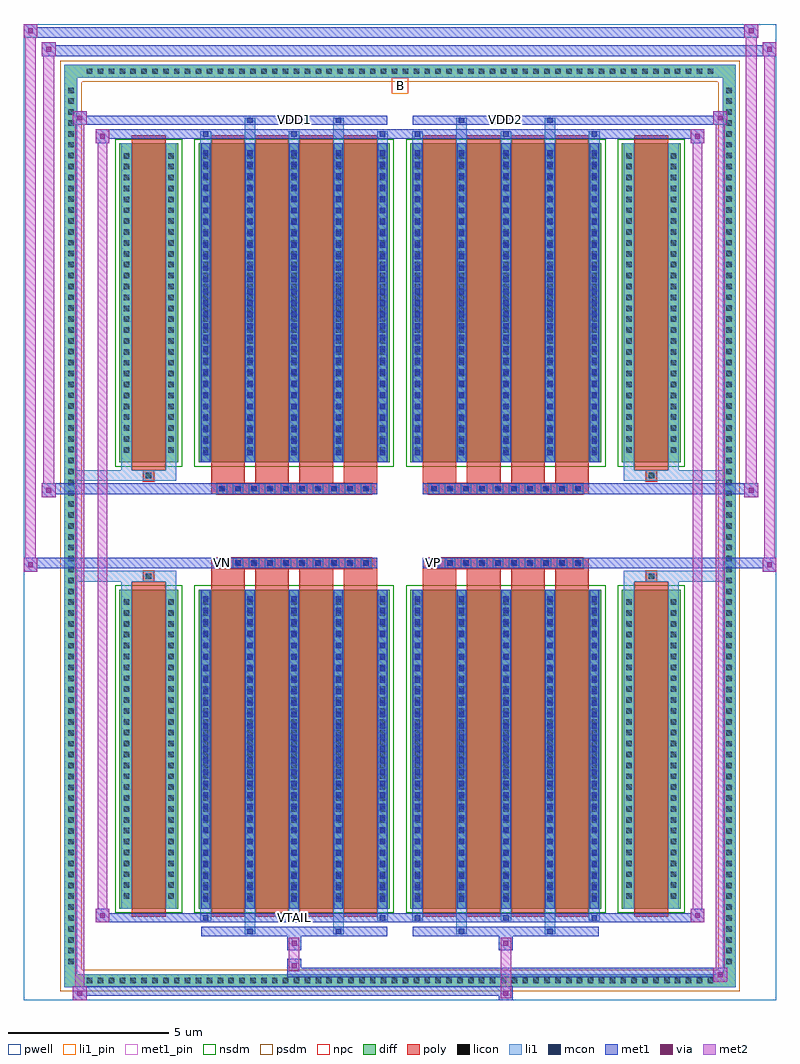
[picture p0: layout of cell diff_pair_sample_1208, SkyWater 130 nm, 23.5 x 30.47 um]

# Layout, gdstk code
import gdstk
lib = gdstk.Library(unit=1e-6, precision=5e-09)
def R(c, l, rs):  # rectangles x0, y0, x1, y1
    for r in rs: c.add(gdstk.rectangle(r[:2], r[2:], *l))
def A(c, l, x, y, w, h, nx, ny, dx, dy):  # array of equal rectangles
    R(c, l, [(x+i*dx, y+j*dy, x+i*dx+w, y+j*dy+h) for i in range(nx) for j in range(ny)])
def P(c, l, *ps):  # polygons
    for p in ps: c.add(gdstk.Polygon(p, *l))
pwell = (64, 44)
diff = (65, 20)
poly = (66, 20)
licon = (66, 44)
li1_pin = (67, 16)
li1 = (67, 20)
mcon = (67, 44)
met1_pin = (68, 16)
met1 = (68, 20)
via = (68, 44)
met2 = (69, 20)
nsdm = (93, 44)
psdm = (94, 20)
npc = (95, 20)

diff_pair_sample_1208 = lib.new_cell('diff_pair_sample_1208')
R(diff_pair_sample_1208, pwell, [(-11.75,-14.8,11.75,15.67), (-9.07,-12.99,-0.01,-0.795), (0.01,-12.99,9.07,-0.795), (-9.07,0.795,-0.01,12.99), (0.01,0.795,9.07,12.99)])
A(diff_pair_sample_1208, diff, -9.895, -14.4, 0.41, 0.41, 58, 2, 0.34, 28.39)
A(diff_pair_sample_1208, diff, -10.48, -13.805, 0.41, 0.41, 1, 81, 0, 0.34)
A(diff_pair_sample_1208, diff, 10.07, -13.805, 0.41, 0.41, 1, 81, 0, 0.34)
R(diff_pair_sample_1208, diff, [(-9.895,-14.4,9.895,-13.99), (-10.48,-13.805,-10.07,13.805), (10.07,-13.805,10.48,13.805), (-8.76,-11.945,-6.93,-1.985), (-6.29,-11.945,-0.32,-1.985), (0.32,-11.945,6.29,-1.985), (6.93,-11.945,8.76,-1.985), (-8.76,1.985,-6.93,11.945), (-6.29,1.985,-0.32,11.945), (0.32,1.985,6.29,11.945), (6.93,1.985,8.76,11.945), (-9.895,13.99,9.895,14.4)])
P(diff_pair_sample_1208, diff, [(10.48,14.4),(-10.48,14.4),(-10.48,-13.99),(-10.07,-13.99),(-10.07,13.99),(10.07,13.99),(10.07,-13.99),(-10.07,-13.99),(-10.48,-13.99),(-10.48,-14.4),(10.48,-14.4)])
A(diff_pair_sample_1208, poly, -5.9, -12.195, 1.05, 10.46, 4, 2, 1.38, 13.93)
A(diff_pair_sample_1208, poly, 0.71, -12.195, 1.05, 10.46, 4, 2, 1.38, 13.93)
A(diff_pair_sample_1208, poly, -5.9, -1.735, 1.05, 0.41, 4, 2, 1.38, 3.06)
A(diff_pair_sample_1208, poly, 0.71, -1.735, 1.05, 0.41, 4, 2, 1.38, 3.06)
A(diff_pair_sample_1208, poly, -5.72, -1.325, 0.33, 0.33, 10, 2, 0.5, 2.32)
A(diff_pair_sample_1208, poly, 0.89, -1.325, 0.33, 0.33, 10, 2, 0.5, 2.32)
R(diff_pair_sample_1208, poly, [(-8.37,-12.195,-7.32,-1.735), (7.32,-12.195,8.37,-1.735), (-8.01,-1.735,-7.68,-1.405), (-8.01,-1.735,-7.68,-1.405), (7.68,-1.735,8.01,-1.405), (7.68,-1.735,8.01,-1.405), (-5.9,-1.325,-0.71,-0.995), (0.71,-1.325,5.9,-0.995), (-5.9,0.995,-0.71,1.325), (0.71,0.995,5.9,1.325), (-8.01,1.405,-7.68,1.735), (-8.01,1.405,-7.68,1.735), (7.68,1.405,8.01,1.735), (7.68,1.405,8.01,1.735), (-8.37,1.735,-7.32,12.195), (7.32,1.735,8.37,12.195)])
A(diff_pair_sample_1208, licon, -9.775, -14.28, 0.17, 0.17, 58, 2, 0.34, 28.39)
A(diff_pair_sample_1208, licon, -10.36, -13.685, 0.17, 0.17, 1, 81, 0, 0.34)
A(diff_pair_sample_1208, licon, 10.19, -13.685, 0.17, 0.17, 1, 81, 0, 0.34)
A(diff_pair_sample_1208, licon, -8.62, -11.64, 0.17, 0.17, 1, 28, 0, 0.34)
A(diff_pair_sample_1208, licon, -7.24, -11.64, 0.17, 0.17, 1, 28, 0, 0.34)
A(diff_pair_sample_1208, licon, -6.15, -11.64, 0.17, 0.17, 5, 28, 1.38, 0.34)
A(diff_pair_sample_1208, licon, 0.46, -11.64, 0.17, 0.17, 5, 28, 1.38, 0.34)
A(diff_pair_sample_1208, licon, 7.07, -11.64, 0.17, 0.17, 1, 28, 0, 0.34)
A(diff_pair_sample_1208, licon, 8.45, -11.64, 0.17, 0.17, 1, 28, 0, 0.34)
A(diff_pair_sample_1208, licon, -5.64, -1.245, 0.17, 0.17, 10, 2, 0.5, 2.32)
A(diff_pair_sample_1208, licon, 0.97, -1.245, 0.17, 0.17, 10, 2, 0.5, 2.32)
A(diff_pair_sample_1208, licon, -8.62, 2.29, 0.17, 0.17, 1, 28, 0, 0.34)
A(diff_pair_sample_1208, licon, -7.24, 2.29, 0.17, 0.17, 1, 28, 0, 0.34)
A(diff_pair_sample_1208, licon, -6.15, 2.29, 0.17, 0.17, 5, 28, 1.38, 0.34)
A(diff_pair_sample_1208, licon, 0.46, 2.29, 0.17, 0.17, 5, 28, 1.38, 0.34)
A(diff_pair_sample_1208, licon, 7.07, 2.29, 0.17, 0.17, 1, 28, 0, 0.34)
A(diff_pair_sample_1208, licon, 8.45, 2.29, 0.17, 0.17, 1, 28, 0, 0.34)
R(diff_pair_sample_1208, licon, [(-7.93,-1.655,-7.76,-1.485), (7.76,-1.655,7.93,-1.485), (-7.93,1.485,-7.76,1.655), (7.76,1.485,7.93,1.655)])
R(diff_pair_sample_1208, li1_pin, [(-0.25,13.49,0.25,13.99)])
A(diff_pair_sample_1208, li1, -9.855, -14.36, 0.33, 0.33, 58, 2, 0.34, 28.39)
A(diff_pair_sample_1208, li1, -10.44, -13.765, 0.33, 0.33, 1, 81, 0, 0.34)
A(diff_pair_sample_1208, li1, 10.11, -13.765, 0.33, 0.33, 1, 81, 0, 0.34)
A(diff_pair_sample_1208, li1, -6.23, -12.32, 0.33, 0.375, 3, 2, 2.76, 24.265)
A(diff_pair_sample_1208, li1, -6.15, -12.32, 0.17, 0.17, 3, 2, 2.76, 24.47)
A(diff_pair_sample_1208, li1, 0.38, -12.32, 0.33, 0.375, 3, 2, 2.76, 24.265)
A(diff_pair_sample_1208, li1, 0.46, -12.32, 0.17, 0.17, 3, 2, 2.76, 24.47)
A(diff_pair_sample_1208, li1, -6.23, -11.945, 0.33, 9.96, 5, 2, 1.38, 13.93)
A(diff_pair_sample_1208, li1, 0.38, -11.945, 0.33, 9.96, 5, 2, 1.38, 13.93)
A(diff_pair_sample_1208, li1, -6.15, -11.73, 0.17, 0.17, 5, 27, 1.38, 0.36)
A(diff_pair_sample_1208, li1, -6.15, -11.73, 0.17, 9.53, 5, 2, 1.38, 13.93)
A(diff_pair_sample_1208, li1, 0.46, -11.73, 0.17, 0.17, 5, 27, 1.38, 0.36)
A(diff_pair_sample_1208, li1, 0.46, -11.73, 0.17, 9.53, 5, 2, 1.38, 13.93)
A(diff_pair_sample_1208, li1, -8.7, -11.72, 0.33, 0.33, 1, 28, 0, 0.34)
A(diff_pair_sample_1208, li1, -7.32, -11.72, 0.33, 0.33, 1, 28, 0, 0.34)
A(diff_pair_sample_1208, li1, -6.23, -11.72, 0.33, 0.33, 5, 28, 1.38, 0.34)
A(diff_pair_sample_1208, li1, 0.38, -11.72, 0.33, 0.33, 5, 28, 1.38, 0.34)
A(diff_pair_sample_1208, li1, 6.99, -11.72, 0.33, 0.33, 1, 28, 0, 0.34)
A(diff_pair_sample_1208, li1, 8.37, -11.72, 0.33, 0.33, 1, 28, 0, 0.34)
A(diff_pair_sample_1208, li1, -5.72, -1.325, 0.33, 0.33, 10, 2, 0.5, 2.32)
A(diff_pair_sample_1208, li1, 0.89, -1.325, 0.33, 0.33, 10, 2, 0.5, 2.32)
A(diff_pair_sample_1208, li1, -6.15, 2.2, 0.17, 0.17, 5, 27, 1.38, 0.36)
A(diff_pair_sample_1208, li1, 0.46, 2.2, 0.17, 0.17, 5, 27, 1.38, 0.36)
A(diff_pair_sample_1208, li1, -8.7, 2.21, 0.33, 0.33, 1, 28, 0, 0.34)
A(diff_pair_sample_1208, li1, -7.32, 2.21, 0.33, 0.33, 1, 28, 0, 0.34)
A(diff_pair_sample_1208, li1, -6.23, 2.21, 0.33, 0.33, 5, 28, 1.38, 0.34)
A(diff_pair_sample_1208, li1, 0.38, 2.21, 0.33, 0.33, 5, 28, 1.38, 0.34)
A(diff_pair_sample_1208, li1, 6.99, 2.21, 0.33, 0.33, 1, 28, 0, 0.34)
A(diff_pair_sample_1208, li1, 8.37, 2.21, 0.33, 0.33, 1, 28, 0, 0.34)
R(diff_pair_sample_1208, li1, [(-10.48,-14.4,-10.07,-13.99), (-10.48,-14.4,-10.07,-13.99), (-10.07,-14.4,10.07,-13.99), (10.07,-14.4,10.48,-13.99), (10.07,-14.4,10.48,-13.99), (-10.48,-13.99,-10.07,13.99), (10.07,-13.99,10.48,13.99), (-4.85,-12.75,-4.52,-11.945), (-4.77,-12.75,-4.6,-12.58), (-2.09,-12.75,-1.76,-11.945), (-2.01,-12.75,-1.84,-12.58), (1.76,-12.75,2.09,-11.945), (1.84,-12.75,2.01,-12.58), (4.52,-12.75,4.85,-11.945), (4.6,-12.75,4.77,-12.58), (-8.7,-11.945,-8.37,-1.985), (-7.32,-11.945,-6.99,-1.985), (6.99,-11.945,7.32,-1.985), (8.37,-11.945,8.7,-1.985), (-8.7,-1.985,-8.37,-1.405), (-7.32,-1.985,-6.99,-1.405), (6.99,-1.985,7.32,-1.405), (8.37,-1.985,8.7,-1.405), (-10.48,-1.735,-8.01,-1.405), (-8.7,-1.735,-8.01,-1.405), (-8.01,-1.735,-7.68,-1.405), (-7.68,-1.735,-6.99,-1.405), (6.99,-1.735,7.68,-1.405), (7.68,-1.735,8.01,-1.405), (7.68,-1.735,10.48,-1.405), (8.01,-1.735,8.7,-1.405), (-10.48,1.405,-8.01,1.735), (-8.7,1.405,-8.01,1.735), (-8.7,1.405,-8.37,1.985), (-8.01,1.405,-7.68,1.735), (-7.68,1.405,-6.99,1.735), (-7.32,1.405,-6.99,1.985), (6.99,1.405,7.68,1.735), (6.99,1.405,7.32,1.985), (7.68,1.405,8.01,1.735), (7.68,1.405,10.48,1.735), (8.01,1.405,8.7,1.735), (8.37,1.405,8.7,1.985), (-8.7,1.985,-8.37,11.945), (-7.32,1.985,-6.99,11.945), (6.99,1.985,7.32,11.945), (8.37,1.985,8.7,11.945), (-4.85,11.945,-4.52,12.75), (-2.09,11.945,-1.76,12.75), (1.76,11.945,2.09,12.75), (4.52,11.945,4.85,12.75), (-4.77,12.58,-4.6,12.75), (-2.01,12.58,-1.84,12.75), (1.84,12.58,2.01,12.75), (4.6,12.58,4.77,12.75), (-10.48,13.99,-10.07,14.4), (-10.48,13.99,-10.07,14.4), (-10.07,13.99,10.07,14.4), (10.07,13.99,10.48,14.4), (10.07,13.99,10.48,14.4)])
A(diff_pair_sample_1208, mcon, -6.15, -12.32, 0.17, 0.17, 3, 2, 2.76, 24.47)
A(diff_pair_sample_1208, mcon, 0.46, -12.32, 0.17, 0.17, 3, 2, 2.76, 24.47)
A(diff_pair_sample_1208, mcon, -6.15, -11.73, 0.17, 0.17, 5, 27, 1.38, 0.36)
A(diff_pair_sample_1208, mcon, 0.46, -11.73, 0.17, 0.17, 5, 27, 1.38, 0.36)
A(diff_pair_sample_1208, mcon, -5.64, -1.245, 0.17, 0.17, 10, 2, 0.5, 2.32)
A(diff_pair_sample_1208, mcon, 0.97, -1.245, 0.17, 0.17, 10, 2, 0.5, 2.32)
A(diff_pair_sample_1208, mcon, -6.15, 2.2, 0.17, 0.17, 5, 27, 1.38, 0.36)
A(diff_pair_sample_1208, mcon, 0.46, 2.2, 0.17, 0.17, 5, 27, 1.38, 0.36)
R(diff_pair_sample_1208, mcon, [(-4.77,-12.75,-4.6,-12.58), (-2.01,-12.75,-1.84,-12.58), (1.84,-12.75,2.01,-12.58), (4.6,-12.75,4.77,-12.58), (-4.77,12.58,-4.6,12.75), (-2.01,12.58,-1.84,12.75), (1.84,12.58,2.01,12.75), (4.6,12.58,4.77,12.75)])
R(diff_pair_sample_1208, met1_pin, [(-3.44,-12.36,-3.17,-12.09), (-5.69,-1.285,-5.42,-1.015), (0.92,-1.285,1.19,-1.015), (-3.44,12.54,-3.17,12.81), (3.17,12.54,3.44,12.81)])
A(diff_pair_sample_1208, met1, -6.21, -12.38, 0.29, 0.29, 3, 2, 2.76, 24.47)
A(diff_pair_sample_1208, met1, 0.4, -12.38, 0.29, 0.29, 3, 2, 2.76, 24.47)
A(diff_pair_sample_1208, met1, -6.21, -11.945, 0.29, 9.96, 5, 2, 1.38, 13.93)
A(diff_pair_sample_1208, met1, 0.4, -11.945, 0.29, 9.96, 5, 2, 1.38, 13.93)
A(diff_pair_sample_1208, met1, -6.21, -11.79, 0.29, 0.29, 5, 27, 1.38, 0.36)
A(diff_pair_sample_1208, met1, 0.4, -11.79, 0.29, 0.29, 5, 27, 1.38, 0.36)
A(diff_pair_sample_1208, met1, -5.7, -1.305, 0.29, 0.29, 10, 2, 0.5, 2.32)
A(diff_pair_sample_1208, met1, 0.91, -1.305, 0.29, 0.29, 10, 2, 0.5, 2.32)
A(diff_pair_sample_1208, met1, -6.21, 2.14, 0.29, 0.29, 5, 27, 1.38, 0.36)
A(diff_pair_sample_1208, met1, 0.4, 2.14, 0.29, 0.29, 5, 27, 1.38, 0.36)
R(diff_pair_sample_1208, met1, [(-10.21,-14.8,-9.78,-14.37), (3.09,-14.8,3.52,-14.37), (-10.21,-14.66,3.52,-14.37), (9.78,-14.23,10.21,-13.8), (-3.52,-14.09,10.21,-13.8), (-3.52,-13.95,-3.09,-13.52), (-3.52,-13.24,-3.09,-12.81), (3.09,-13.24,3.52,-12.81), (-6.21,-12.81,-0.4,-12.52), (-4.83,-12.81,-4.54,-12.52), (-2.07,-12.81,-1.78,-12.52), (0.4,-12.81,6.21,-12.52), (1.78,-12.81,2.07,-12.52), (4.54,-12.81,4.83,-12.52), (-9.5,-12.38,-9.07,-11.95), (-9.5,-12.38,-6.21,-12.09), (-6.21,-12.38,-0.4,-12.09), (-0.4,-12.38,0.4,-12.09), (0.4,-12.38,6.21,-12.09), (6.21,-12.38,9.5,-12.09), (9.07,-12.38,9.5,-11.95), (-11.75,-1.425,-11.32,-0.995), (11.32,-1.425,11.75,-0.995), (-11.75,-1.325,-0.71,-0.995), (-5.9,-1.325,-0.71,-0.995), (0.71,-1.325,5.9,-0.995), (0.71,-1.325,11.75,-0.995), (-11.18,0.895,-10.75,1.325), (10.75,0.895,11.18,1.325), (-11.18,0.995,-5.9,1.325), (-5.9,0.995,-0.71,1.325), (0.71,0.995,5.9,1.325), (5.9,0.995,11.18,1.325), (-9.5,11.95,-9.07,12.38), (9.07,11.95,9.5,12.38), (-9.5,12.09,-6.21,12.38), (-6.21,12.09,-0.4,12.38), (-0.4,12.09,0.4,12.38), (0.4,12.09,6.21,12.38), (6.21,12.09,9.5,12.38), (-10.21,12.52,-9.78,12.95), (-10.21,12.52,-6.21,12.81), (-6.21,12.52,-0.4,12.81), (-4.83,12.52,-4.54,12.81), (-2.07,12.52,-1.78,12.81), (0.4,12.52,6.21,12.81), (1.78,12.52,2.07,12.81), (4.54,12.52,4.83,12.81), (6.21,12.52,10.21,12.81), (9.78,12.52,10.21,12.95), (-11.18,14.67,-10.75,15.1), (-11.18,14.67,-9.07,15), (-9.07,14.67,9.07,15), (9.07,14.67,11.75,15), (11.32,14.67,11.75,15.1), (-11.75,15.24,-11.32,15.67), (-11.75,15.24,-9.07,15.57), (-9.07,15.24,9.07,15.57), (9.07,15.24,11.18,15.57), (10.75,15.24,11.18,15.67)])
R(diff_pair_sample_1208, via, [(-10.07,-14.66,-9.92,-14.51), (3.23,-14.66,3.38,-14.51), (9.92,-14.09,10.07,-13.94), (-3.38,-13.81,-3.23,-13.66), (-3.38,-13.1,-3.23,-12.95), (3.23,-13.1,3.38,-12.95), (-9.36,-12.24,-9.21,-12.09), (9.21,-12.24,9.36,-12.09), (-11.61,-1.285,-11.46,-1.135), (11.46,-1.285,11.61,-1.135), (-11.04,1.035,-10.89,1.185), (10.89,1.035,11.04,1.185), (-9.36,12.09,-9.21,12.24), (9.21,12.09,9.36,12.24), (-10.07,12.66,-9.92,12.81), (9.92,12.66,10.07,12.81), (-11.04,14.81,-10.89,14.96), (11.46,14.81,11.61,14.96), (-11.61,15.38,-11.46,15.53), (10.89,15.38,11.04,15.53)])
R(diff_pair_sample_1208, met2, [(-10.21,-14.8,-9.78,-14.37), (-10.14,-14.8,-9.85,12.95), (-9.85,-14.8,-9.78,-14.37), (-10.16,-14.75,-9.83,-14.42), (3.14,-14.75,3.47,-14.42), (3.14,-14.42,3.47,-13.19), (9.78,-14.23,10.21,-13.8), (9.85,-14.23,10.14,12.95), (10.14,-14.23,10.21,-13.8), (9.83,-14.18,10.16,-13.85), (-3.47,-13.9,-3.14,-13.57), (-3.47,-13.57,-3.14,-13.19), (-3.47,-13.19,-3.14,-12.86), (3.14,-13.19,3.47,-12.86), (-9.5,-12.38,-9.07,-11.95), (-9.43,-12.38,-9.14,12.38), (-9.14,-12.38,-9.07,-11.95), (9.07,-12.38,9.5,-11.95), (9.14,-12.38,9.43,12.38), (9.43,-12.38,9.5,-11.95), (-9.45,-12.33,-9.12,-12), (9.12,-12.33,9.45,-12), (-11.75,-1.425,-11.32,-0.995), (-11.7,-1.425,-11.37,15.67), (-11.37,-1.425,-11.32,-0.995), (11.32,-1.425,11.75,-0.995), (11.37,-1.425,11.7,15.1), (11.7,-1.425,11.75,-0.995), (-11.7,-1.375,-11.37,-1.045), (11.37,-1.375,11.7,-1.045), (-11.18,0.895,-10.75,1.325), (-11.13,0.895,-10.8,15.1), (-10.8,0.895,-10.75,1.325), (10.75,0.895,11.18,1.325), (10.8,0.895,11.13,15.67), (11.13,0.895,11.18,1.325), (-11.13,0.945,-10.8,1.275), (10.8,0.945,11.13,1.275), (-9.5,11.95,-9.07,12.38), (-9.14,11.95,-9.07,12.38), (9.07,11.95,9.5,12.38), (9.43,11.95,9.5,12.38), (-9.45,12,-9.12,12.33), (9.12,12,9.45,12.33), (-10.21,12.52,-9.78,12.95), (-9.85,12.52,-9.78,12.95), (9.78,12.52,10.21,12.95), (10.14,12.52,10.21,12.95), (-10.16,12.57,-9.83,12.9), (9.83,12.57,10.16,12.9), (-11.18,14.67,-10.75,15.1), (-10.8,14.67,-10.75,15.1), (11.32,14.67,11.75,15.1), (11.7,14.67,11.75,15.1), (-11.13,14.72,-10.8,15.05), (11.37,14.72,11.7,15.05), (-11.75,15.24,-11.32,15.67), (-11.37,15.24,-11.32,15.67), (10.75,15.24,11.18,15.67), (11.13,15.24,11.18,15.67), (-11.7,15.29,-11.37,15.62), (10.8,15.29,11.13,15.62)])
R(diff_pair_sample_1208, nsdm, [(-8.89,-12.075,-6.8,-1.855), (-6.42,-12.075,-0.19,-1.855), (0.19,-12.075,6.42,-1.855), (6.8,-12.075,8.89,-1.855), (-8.89,1.855,-6.8,12.075), (-6.42,1.855,-0.19,12.075), (0.19,1.855,6.42,12.075), (6.8,1.855,8.89,12.075)])
P(diff_pair_sample_1208, psdm, [(10.61,14.53),(-10.61,14.53),(-10.61,-13.86),(-9.94,-13.86),(-9.94,13.86),(9.94,13.86),(9.94,-13.86),(-9.94,-13.86),(-10.61,-13.86),(-10.61,-14.53),(10.61,-14.53)])
A(diff_pair_sample_1208, npc, -5.74, -1.345, 0.37, 0.37, 10, 2, 0.5, 2.32)
A(diff_pair_sample_1208, npc, 0.87, -1.345, 0.37, 0.37, 10, 2, 0.5, 2.32)
R(diff_pair_sample_1208, npc, [(-8.03,-1.755,-7.66,-1.385), (7.66,-1.755,8.03,-1.385), (-5.74,-1.345,-4.87,-0.975), (-5.74,-1.345,-4.87,-0.975), (-5.24,-1.345,-4.37,-0.975), (-5.24,-1.345,-4.37,-0.975), (-4.74,-1.345,-3.87,-0.975), (-4.74,-1.345,-3.87,-0.975), (-4.24,-1.345,-3.37,-0.975), (-4.24,-1.345,-3.37,-0.975), (-3.74,-1.345,-2.87,-0.975), (-3.74,-1.345,-2.87,-0.975), (-3.24,-1.345,-2.37,-0.975), (-3.24,-1.345,-2.37,-0.975), (-2.74,-1.345,-1.87,-0.975), (-2.74,-1.345,-1.87,-0.975), (-2.24,-1.345,-1.37,-0.975), (-2.24,-1.345,-1.37,-0.975), (-1.74,-1.345,-0.87,-0.975), (-1.74,-1.345,-0.87,-0.975), (0.87,-1.345,1.74,-0.975), (0.87,-1.345,1.74,-0.975), (1.37,-1.345,2.24,-0.975), (1.37,-1.345,2.24,-0.975), (1.87,-1.345,2.74,-0.975), (1.87,-1.345,2.74,-0.975), (2.37,-1.345,3.24,-0.975), (2.37,-1.345,3.24,-0.975), (2.87,-1.345,3.74,-0.975), (2.87,-1.345,3.74,-0.975), (3.37,-1.345,4.24,-0.975), (3.37,-1.345,4.24,-0.975), (3.87,-1.345,4.74,-0.975), (3.87,-1.345,4.74,-0.975), (4.37,-1.345,5.24,-0.975), (4.37,-1.345,5.24,-0.975), (4.87,-1.345,5.74,-0.975), (4.87,-1.345,5.74,-0.975), (-5.74,0.975,-4.87,1.345), (-5.74,0.975,-4.87,1.345), (-5.24,0.975,-4.37,1.345), (-5.24,0.975,-4.37,1.345), (-4.74,0.975,-3.87,1.345), (-4.74,0.975,-3.87,1.345), (-4.24,0.975,-3.37,1.345), (-4.24,0.975,-3.37,1.345), (-3.74,0.975,-2.87,1.345), (-3.74,0.975,-2.87,1.345), (-3.24,0.975,-2.37,1.345), (-3.24,0.975,-2.37,1.345), (-2.74,0.975,-1.87,1.345), (-2.74,0.975,-1.87,1.345), (-2.24,0.975,-1.37,1.345), (-2.24,0.975,-1.37,1.345), (-1.74,0.975,-0.87,1.345), (-1.74,0.975,-0.87,1.345), (0.87,0.975,1.74,1.345), (0.87,0.975,1.74,1.345), (1.37,0.975,2.24,1.345), (1.37,0.975,2.24,1.345), (1.87,0.975,2.74,1.345), (1.87,0.975,2.74,1.345), (2.37,0.975,3.24,1.345), (2.37,0.975,3.24,1.345), (2.87,0.975,3.74,1.345), (2.87,0.975,3.74,1.345), (3.37,0.975,4.24,1.345), (3.37,0.975,4.24,1.345), (3.87,0.975,4.74,1.345), (3.87,0.975,4.74,1.345), (4.37,0.975,5.24,1.345), (4.37,0.975,5.24,1.345), (4.87,0.975,5.74,1.345), (4.87,0.975,5.74,1.345), (-8.03,1.385,-7.66,1.755), (7.66,1.385,8.03,1.755)])
diff_pair_sample_1208.add(gdstk.Label('VTAIL', (-3.305,-12.225), layer=68, texttype=5))
diff_pair_sample_1208.add(gdstk.Label('VN', (-5.555,-1.15), layer=68, texttype=5))
diff_pair_sample_1208.add(gdstk.Label('VP', (1.055,-1.15), layer=68, texttype=5))
diff_pair_sample_1208.add(gdstk.Label('B', (0,13.74), layer=67, texttype=5))
diff_pair_sample_1208.add(gdstk.Label('VDD2', (3.305,12.675), layer=68, texttype=5))
diff_pair_sample_1208.add(gdstk.Label('VDD1', (-3.305,12.675), layer=68, texttype=5))

lib.write_gds('diff_pair_sample_1208.gds')
